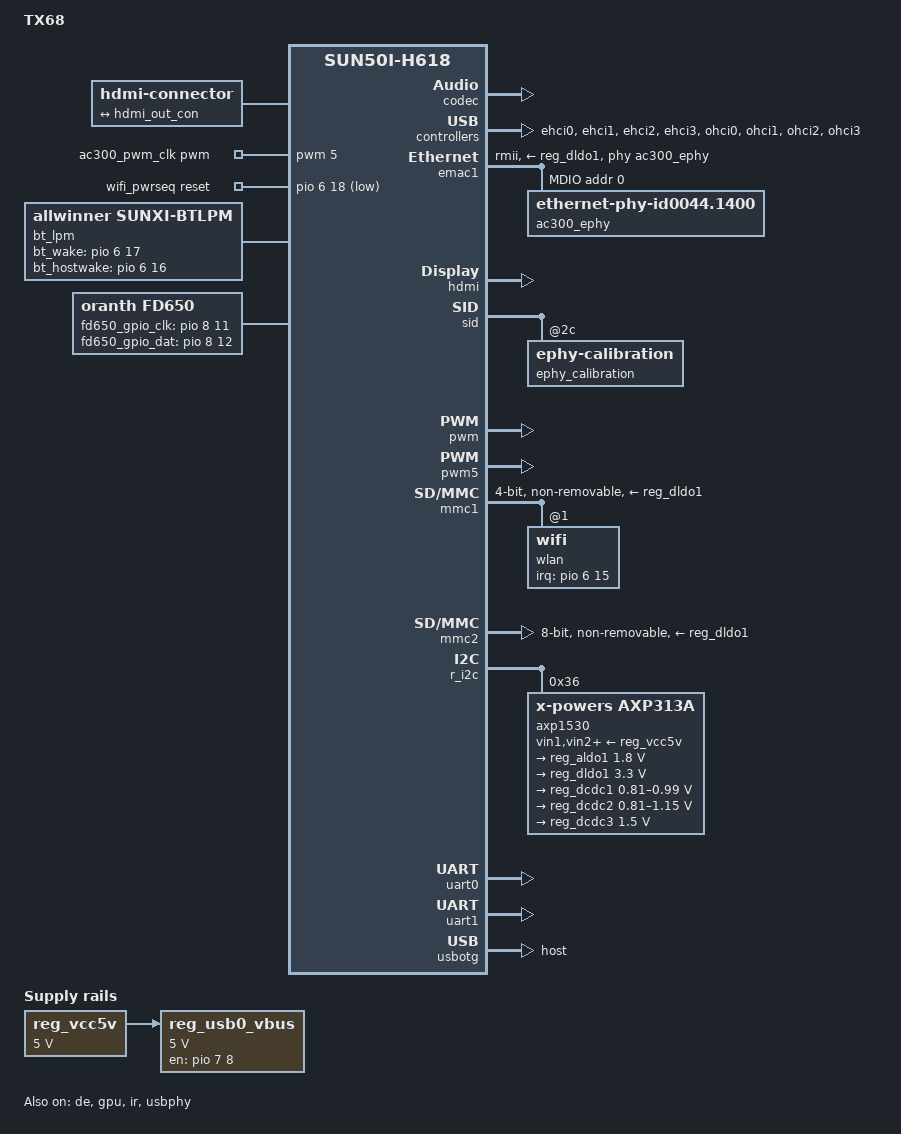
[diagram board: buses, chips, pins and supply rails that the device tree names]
// SPDX-License-Identifier: (GPL-2.0+ OR MIT)
/*
 * TX68 / m1k_go TV box, Allwinner H618
 *
 * The vendor FDT identifies an AXP1530 PMIC. Mainline models this compatible
 * register layout with the AXP313A binding.
 *
 * Carried over from orangepi-build's sun50iw9-next Linux 6.18 canary
 * (external/patch/kernel/sun50iw9-next/0200-arm64-dts-add-tx68.patch),
 * compile-verified there against stable Linux 6.18.40. TX68 boots through
 * the vendor-signed Boot0/U-Boot/secure-TOC1 chain, not mainline U-Boot —
 * this DTB is only used once Linux itself takes over.
 */

/dts-v1/;

#include "sun50i-h616.dtsi"
#include "sun50i-h616-cpu-opp.dtsi"

#include <dt-bindings/gpio/gpio.h>
#include <dt-bindings/interrupt-controller/irq.h>

/ {
	model = "TX68";
	compatible = "oranth,tx68", "allwinner,sun50i-h618";

	aliases {
		ethernet0 = &emac1;
		serial0 = &uart0;
	};

	chosen {
		stdout-path = "serial0:115200n8";
	};

	connector {
		compatible = "hdmi-connector";
		type = "a";

		port {
			hdmi_con_in: endpoint {
				remote-endpoint = <&hdmi_out_con>;
			};
		};
	};

	reg_vcc5v: vcc5v {
		compatible = "regulator-fixed";
		regulator-name = "vcc-5v";
		regulator-min-microvolt = <5000000>;
		regulator-max-microvolt = <5000000>;
		regulator-always-on;
	};

	/*
	 * WL_REG_ON. The vendor DT calls this wlan_regon = <&pio PG 18
	 * GPIO_ACTIVE_HIGH> and drives it high to release the chip;
	 * mmc-pwrseq-simple states the same line as its (active-low) reset,
	 * so ACTIVE_LOW here means exactly the same electrical behaviour.
	 */
	/*
	 * VBUS switch for the USB port on PHY0. The vendor DT drives it from
	 * PH8 (usb0_drvvbus, active high) and hands it to both &ehci0 and
	 * &ohci0. Without it that port enumerates nothing, because nothing ever
	 * turns its 5V on -- everything still "works" as long as you only use
	 * the other three ports, which is why this went unnoticed.
	 */
	reg_usb0_vbus: usb0-vbus {
		compatible = "regulator-fixed";
		regulator-name = "usb0-vbus";
		regulator-min-microvolt = <5000000>;
		regulator-max-microvolt = <5000000>;
		regulator-enable-ramp-delay = <1000>;
		gpio = <&pio 7 8 GPIO_ACTIVE_HIGH>; /* PH8 */
		enable-active-high;
		vin-supply = <&reg_vcc5v>;
	};

	/* 500ns period -> 2MHz, the AC300 EPHY's clock input. */
	ac300_pwm_clk: ac300-clk {
		compatible = "pwm-clock";
		#clock-cells = <0>;
		pwms = <&pwm 5 500 0>;
		clock-frequency = <2000000>;
		status = "okay";
	};

	wifi_pwrseq: wifi-pwrseq {
		compatible = "mmc-pwrseq-simple";
		clocks = <&rtc 1>;
		clock-names = "osc32k-out";
		reset-gpios = <&pio 6 18 GPIO_ACTIVE_LOW>; /* PG18 */
		post-power-on-delay-ms = <200>;
	};

	/*
	 * Platform device for the aic8800_btlpm DKMS module (NOT a mainline
	 * binding -- "allwinner,sunxi-btlpm" is this out-of-tree driver's own
	 * of_match_table entry, verified by reading aic8800_btlpm.c). Without
	 * this node the module's platform_driver never probes, BT_WAKE is
	 * never toggled, and the BT core stays asleep forever: hciattach
	 * brings up hci0 on /dev/ttyS1 but every HCI command times out,
	 * confirmed on real hardware (`hci0: Opcode 0x1003 failed: -110`)
	 * with this node absent.
	 */
	bt_lpm: bt-lpm {
		compatible = "allwinner,sunxi-btlpm";
		bt_wake = <&pio 6 17 GPIO_ACTIVE_HIGH>; /* PG17 */
		bt_hostwake = <&pio 6 16 GPIO_ACTIVE_HIGH>; /* PG16 */
		status = "okay";
	};

	/*
	 * Front-panel 4-digit clock display. Out-of-tree driver
	 * (drivers/vfd/fd650.c, ported from the vendor Android BSP's
	 * drivers/vfd) matches on this custom compatible via its own
	 * of_match_table -- not a mainline binding. Property names
	 * (fd650_gpio_clk/fd650_gpio_dat) are exactly what the vendor
	 * DT and the driver's of_get_named_gpio() calls use; renaming
	 * them here would silently break the probe. Verified against
	 * vendor board.dts (m1k_go): PI11 = clock, PI12 = data,
	 * bit-banged two-wire protocol, no pinctrl group needed since
	 * the driver drives both lines as plain GPIOs.
	 */
	fd650: fd650 {
		compatible = "oranth,fd650";
		fd650_gpio_clk = <&pio 8 11 GPIO_ACTIVE_HIGH>; /* PI11 */
		fd650_gpio_dat = <&pio 8 12 GPIO_ACTIVE_HIGH>; /* PI12 */
		status = "okay";
	};

};

/*
 * sun50i-h616.dtsi reserves secmon@40000000 (512 KiB), which is where *mainline*
 * ATF puts BL31. TX68 does not run mainline ATF: it boots the vendor signed
 * chain, whose BL31 + OP-TEE live at 0x48000000 for 16 MiB (see the "bl31" node
 * in the vendor FDT, and the "Next image address = 0x4a000000" handoff in the
 * BL31 banner). Without this, Linux treats that range as free RAM and allocates
 * into the running secure monitor -- which corrupts kernel memory and produces
 * wild, unrelated oopses (observed: a dentry with a NULL superblock during an
 * i2c debugfs create). Keep Linux out of it.
 */
&{/reserved-memory} {
	bl31@48000000 {
		reg = <0x0 0x48000000 0x0 0x1000000>;
		no-map;
	};
};

&codec {
	allwinner,audio-routing = "Line Out", "LINEOUT";
	status = "okay";
};

&cpu0 {
	cpu-supply = <&reg_dcdc2>;
};

/*
 * sun50i-h616-cpu-opp.dtsi's 1512 MHz OPP (opp-supported-hw = 0x2a) only
 * covers speed bins 1/3/5 -- this board reports speed0 (dmesg:
 * "sun50i_cpufreq_nvmem: Using CPU speed bin speed0"), so mainline caps it
 * at 1416 MHz. The vendor's own Android BSP DVFS table for this exact chip
 * (sun50iw9p1/H618, sun50iw9.dtsi in the Android 5.4 kernel tree) DOES
 * define speed0 (there called "a0", same "default/weakest" bin) at
 * 1512 MHz @ 1150000 uV -- that's a factory-validated number, not a guess.
 * Re-open the shared opp-1512000000 node here (board-scoped, not editing
 * the shared dtsi) to add that voltage and add speed0 to the supported-hw
 * mask: 0x2a | bit0 (speed0) = 0x2b. Requires reg_dcdc2's
 * regulator-max-microvolt raised to 1150000 above. See
 * docs/TX68_HARDWARE.md §2.
 */
&cpu_opp_table {
	opp-1512000000 {
		opp-microvolt-speed0 = <1150000>;
		opp-supported-hw = <0x2b>;
	};
};

&de {
	status = "okay";
};

&ehci0 {
	status = "okay";
};

&ehci1 {
	status = "okay";
};

&ehci2 {
	status = "okay";
};

&ehci3 {
	status = "okay";
};

/*
 * Ethernet is the co-packaged AC300 EPHY, not a discrete PHY on the MDIO bus.
 *
 * The giveaway is in the vendor DT: it enables &pwm5 on PA12 (pwm5_pin_a) for
 * no visible consumer. That PWM *is* the AC300's 2 MHz input clock. Together
 * with CLK_EMAC_25M it is what makes the AC300 start driving the RMII 50 MHz
 * REF_CLK back into the MAC.
 *
 * Describing this as a plain external PHY (phy-handle straight at mdio1, node
 * left with the stock "allwinner,sun50i-h616-emac" compatible) compiles and
 * probes, but neither clock is ever requested, so the AC300 stays dead, no
 * REF_CLK comes back, and the DMA soft-reset bit in EMAC_BASIC_CTL1 never
 * clears:
 *     dwmac-sun8i 5030000.ethernet: EMAC reset timeout
 *     probe with driver dwmac-sun8i failed with error -110
 * That failure happens before the PHY is ever addressed, which is why it looks
 * nothing like a PHY problem.
 *
 * Layout below follows sun50i-h618-orangepi-zero2w.dts, which is the same
 * H618 + AC300 arrangement. Note this is NOT how the H616 TV boxes in this tree
 * (x96-mate, x96q) do it -- those have a real external RMII PHY, so copying
 * them is what produced the broken version above.
 */
&emac1 {
	compatible = "allwinner,sun50i-h616-internal-emac";
	allwinner,rx-delay-ps = <3100>;
	allwinner,tx-delay-ps = <700>;
	phy-handle = <&ac300_ephy>;
	phy-mode = "rmii";
	phy-supply = <&reg_dldo1>;
	pinctrl-names = "default";
	pinctrl-0 = <&rmii_pins>;
	status = "okay";

	mdio-mux {
		compatible = "allwinner,sun8i-h3-mdio-mux";
		#address-cells = <1>;
		#size-cells = <0>;
		mdio-parent-bus = <&mdio1>;

		internal_mdio: mdio@1 {
			compatible = "allwinner,sun8i-h3-mdio-internal";
			reg = <1>;
			#address-cells = <1>;
			#size-cells = <0>;

			ac300_ephy: ethernet-phy@0 {
				compatible = "ethernet-phy-id0044.1400",
					     "allwinner,sun50i-h618-ac300-ephy",
					     "ethernet-phy-ieee802.3-c22";
				reg = <0>;
				clocks = <&ccu CLK_EMAC_25M>, <&ac300_pwm_clk>;
				clock-names = "ephy", "pwm";
				nvmem-cells = <&ephy_calibration>;
				nvmem-cell-names = "calibration";
				status = "okay";
			};
		};
	};
};

/*
 * No operating-points-v2 here, deliberately -- this board previously carried
 * a 6-step OPP table (420-648 MHz @ 960 mV) ported from the Android 14
 * apollo_p1 board.dts. It turned out to be unique in the entire mainline
 * tree: every other H616/H618 board (orangepi-zero2/zero2w/zero3,
 * bananapi-m4-berry, x96-mate, kickpi-k2b, mellow-fly-c5, transpeed-8k618-t)
 * enables &gpu with only mali-supply + status, no OPP table at all, so
 * Panfrost's devfreq core never calls dev_pm_opp_set_rate() on any of them --
 * the GPU runs at gpu0's single default clock for the whole session.
 *
 * TX68 was the only board exercising that devfreq path, and it was hitting
 * live "gpu sched timeout" hangs. gpu0 (drivers/clk/sunxi-ng/ccu-sun50i-h616.c)
 * is a mux+divider clock with two parents (pll-gpu, gpu1), so a devfreq-driven
 * clk_set_rate() between the OPP steps can re-parent the GPU clock live under
 * load -- something no other shipping H616/H618 board's kernel ever does.
 * Matching the rest of the tree (fixed clock, no DVFS) rules that out as a
 * variable. See docs/TX68_HARDWARE.md §3 before reintroducing an OPP table.
 */
&gpu {
	mali-supply = <&reg_dcdc1>;
	status = "okay";
};

&hdmi {
	hvcc-supply = <&reg_aldo1>;
	status = "okay";
};

&hdmi_out {
	hdmi_out_con: endpoint {
		remote-endpoint = <&hdmi_con_in>;
	};
};

&ir {
	status = "okay";
};

/* AC300 EPHY calibration data, burned per-chip in the eFuse. */
&sid {
	ephy_calibration: ephy-calibration@2c {
		reg = <0x2c 0x2>;
	};
};

/* PA12 -> PWM5 -> AC300 clock input. Vendor DT enables the same pin. */
&pwm {
	status = "okay";
};

&pwm5 {
	pinctrl-names = "default";
	pinctrl-0 = <&pwm5_pin>;
	clk_bypass_output = <0x1>;
	status = "okay";
};

/*
 * SDIO WiFi. The chip is an AIC8800DC -- confirmed from the Android BSP, which
 * ships longan/kernel/linux-5.4/drivers/net/wireless/aic8800/ plus
 * hardware/aic/{wlan,libbt}/firmware/aic8800/aic8800dc. It is NOT the UWE5622
 * that the other H616 TV-box boards in this tree enable, so do not turn on the
 * uwe5622-allwinner extension for TX68.
 *
 * Rails mirror the vendor &sdc1: vmmc from the 3.3V rail, vqmmc from the 1.8V
 * one. The vendor also puts the whole PG bank on a 1.8V supply
 * (vcc-pg-supply = <&reg_pio1_8>), which is why the bus signalling is fixed at
 * 1.8V and the vendor sets sunxi-dis-signal-vol-sw -- there is no 3.3V state to
 * switch back to. &pio below already maps vcc-pg-supply to the same 1.8V aldo1.
 */
&mmc1 {
	vmmc-supply = <&reg_dldo1>;
	vqmmc-supply = <&reg_aldo1>;
	mmc-pwrseq = <&wifi_pwrseq>;
	bus-width = <4>;
	non-removable;
	cap-sdio-irq;
	keep-power-in-suspend;
	/*
	 * SDIO only. Vendor &sdc1 sets these too. Without them the MMC core
	 * also runs the MMC and SD identification sequences against the
	 * AIC8800 before falling back to SDIO, which is pure delay on every
	 * boot and gives a non-memory card a chance to be misidentified.
	 */
	no-mmc;
	no-sd;
	status = "okay";

	wlan: wifi@1 {
		reg = <1>;
		interrupt-parent = <&pio>;
		/* Vendor: wlan_hostwake = <&pio PG 15 GPIO_ACTIVE_HIGH> */
		interrupts = <6 15 IRQ_TYPE_EDGE_RISING>; /* PG15 WL_HOST_WAKE */
		interrupt-names = "host-wake";
	};
};

/*
 * eMMC. Deliberately NOT HS200 -- read this before "optimising" it back.
 *
 * HS200 requires CMD21 tuning to place the sampling point. sunxi-mmc does not
 * implement mmc_host_ops.execute_tuning at all, so mmc_execute_tuning() quietly
 * returns success and HS200 runs untuned, leaning entirely on the controller's
 * hardware auto-calibration. That is marginal, and the margin depends on the
 * eMMC part fitted:
 *   - board with Samsung-style HAG4a2 (14.7 GiB): HS200 @100 MHz ran fine
 *   - board with CJNB4R (58.2 GiB): repeated
 *       sunxi-mmc 4022000.mmc: data error, sending stop command
 *     (the manual-CMD12 path, only reached on a real CRC/timeout on the bus),
 *     then every execve() wedged in d_alloc_parallel and khungtaskd panicked.
 *
 * Almost no other H616 board in this tree enables HS200: bigtreetech-cb1-emmc
 * and sovol-sv08 go as far as no-1-8-v, sovol also caps at 45 MHz, x96q and
 * bananapi-m4-berry leave it off. The single exception is x96-mate, which is
 * where this node was originally copied from -- the same board that also gave
 * us the wrong Ethernet PHY arrangement. Do not treat it as the reference.
 *
 * DDR52 keeps 8-bit 1.8V transfers (~100 MB/s, plenty for this box) with far
 * more timing margin, and needs no tuning. If eMMC errors ever come back,
 * suspect aldo1: it feeds both the PC bank (eMMC signalling) and the PG bank
 * (AIC8800), so the WiFi chip and the eMMC share a 1.8V rail.
 */
&mmc2 {
	vmmc-supply = <&reg_dldo1>;
	vqmmc-supply = <&reg_aldo1>;
	bus-width = <8>;
	non-removable;
	cap-mmc-hw-reset;
	mmc-ddr-1_8v;
	max-frequency = <52000000>;
	status = "okay";
};

&ohci0 {
	status = "okay";
};

&ohci1 {
	status = "okay";
};

&ohci2 {
	status = "okay";
};

&ohci3 {
	status = "okay";
};

&pio {
	vcc-pa-supply = <&reg_dldo1>;
	vcc-pc-supply = <&reg_aldo1>;
	vcc-pg-supply = <&reg_aldo1>;
	vcc-ph-supply = <&reg_dldo1>;
	vcc-pi-supply = <&reg_dldo1>;
};

&r_i2c {
	status = "okay";

	axp1530: pmic@36 {
		compatible = "x-powers,axp313a";
		reg = <0x36>;

		vin1-supply = <&reg_vcc5v>;
		vin2-supply = <&reg_vcc5v>;
		vin3-supply = <&reg_vcc5v>;

		regulators {
			reg_aldo1: aldo1 {
				regulator-always-on;
				regulator-min-microvolt = <1800000>;
				regulator-max-microvolt = <1800000>;
				regulator-name = "vcc-1v8";
			};

			reg_dldo1: dldo1 {
				regulator-always-on;
				regulator-min-microvolt = <3300000>;
				regulator-max-microvolt = <3300000>;
				regulator-name = "vcc-3v3";
			};

			reg_dcdc1: dcdc1 {
				regulator-always-on;
				regulator-min-microvolt = <810000>;
				regulator-max-microvolt = <990000>;
				regulator-name = "vdd-gpu-sys";
			};

			/*
			 * The ramp delay is not optional here. cpufreq raises
			 * vdd-cpu and then immediately raises the CPU clock;
			 * the wait in between comes purely from
			 * _regulator_set_voltage_time() (drivers/regulator/core.c),
			 * which uses constraints->ramp_delay, else
			 * desc->ramp_delay, else returns 0. The AXP313A DCDC2
			 * descriptor is built with AXP_DESC_RANGES(), which
			 * hardcodes _ramp_delay = 0 -- so with no DT value the
			 * core waits *zero* microseconds and the core clock goes
			 * up while the rail is still ramping.
			 *
			 * Symptom of getting this wrong: one CPU wedges solid
			 * partway into systemd startup -- no ticks, timer softirq
			 * frozen, and no response to the backtrace IPI ("Sending
			 * NMI from CPU 0 to CPUs 3:" with nothing after it),
			 * while the other cores keep running. Which core dies
			 * moves around between boots, the signature of a marginal
			 * rail rather than a logic bug.
			 *
			 * 200 uV/us matches what mainline's own H618 board file
			 * (sun50i-h618-cpu-dvfs.dtsi, included by
			 * sun50i-h618-orangepi-zero3.dts) uses for the same PMIC.
			 * The speed0 bin steps 950000 -> 1100000 uV, so this buys
			 * 750us of settling.
			 *
			 * The regulator-step-delay-us/regulator-final-delay-us
			 * properties that appear alongside it there are inert --
			 * no driver in this tree reads them. Not copied.
			 */
			reg_dcdc2: dcdc2 {
				regulator-always-on;
				regulator-min-microvolt = <810000>;
				/*
				 * Raised from the mainline-default 1100000 to 1150000
				 * to cover the 1512 MHz OPP enabled for this board's
				 * speed0 bin below (&cpu_opp_table override further
				 * down this file). 1150000 is not a guess -- it's the
				 * vendor's own factory DVFS table value for this exact
				 * speed bin at this exact frequency (opp@1512000000,
				 * opp-microvolt-a0 = <1150000>, sun50iw9.dtsi, Android
				 * BSP linux-5.4 tree). PMIC (AXP1530 dcdc2) allows up
				 * to 1540000, so this stays well inside its range.
				 * See docs/TX68_HARDWARE.md §2.
				 */
				regulator-max-microvolt = <1150000>;
				regulator-ramp-delay = <200>;
				regulator-name = "vdd-cpu";
			};

			/*
			 * DDR3 at 1.5V (sys_config_tx68.fex: dram_type = 3,
			 * dram_clk = 648) -- that is what Boot0 trains the DRAM
			 * at long before Linux runs, and the vendor DT keeps
			 * this rail on a deliberately wide 0.5-1.84V range so
			 * nothing ever re-programs it.
			 *
			 * A 1360000 min/max here made the regulator core drag
			 * the live DRAM rail down during probe:
			 *   vdd-dram: Bringing 1500000uV into 1360000-1360000uV
			 * after which the board died with RCU stalls on CPU 2/3
			 * and a flickering HDMI output -- DRAM running below the
			 * voltage it was trained for. Pin it to the real 1.5V.
			 */
			reg_dcdc3: dcdc3 {
				regulator-always-on;
				regulator-min-microvolt = <1500000>;
				regulator-max-microvolt = <1500000>;
				regulator-name = "vdd-dram";
			};
		};
	};
};

&uart0 {
	pinctrl-names = "default";
	pinctrl-0 = <&uart0_ph_pins>;
	status = "okay";
};

/*
 * Bluetooth side of the AIC8800DC, on UART1 with hardware flow control
 * (vendor &btlpm: uart_index = <1>). No child "bluetooth" node here on
 * purpose: there is no mainline serdev compatible for this part, and
 * inventing one would bind the wrong line discipline. Enabling the port
 * gives userspace /dev/ttyS1, which is what hciattach uses.
 *   BT_RST       PG19, active low   (vendor bt_rst_n) -- not wired below,
 *                unused by the DKMS aic8800_btlpm driver (grep confirmed:
 *                it only requests bt_wake and bt_hostwake)
 *   BT_WAKE      PG17, active high  (vendor bt_wake)
 *   BT_HOST_WAKE PG16, active high  (vendor bt_hostwake)
 */
&uart1 {
	pinctrl-names = "default";
	pinctrl-0 = <&uart1_pins>, <&uart1_rts_cts_pins>;
	uart-has-rtscts;
	status = "okay";
};


&usbotg {
	dr_mode = "host";
	status = "okay";
};

&usbphy {
	usb0_vbus-supply = <&reg_usb0_vbus>;
	status = "okay";
};
